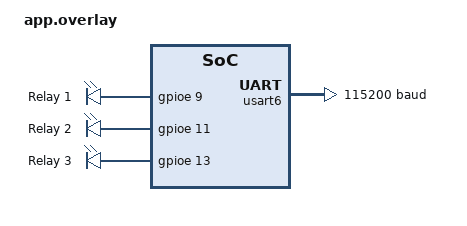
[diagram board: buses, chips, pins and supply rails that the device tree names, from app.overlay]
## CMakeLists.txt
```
# SPDX-License-Identifier: Apache-2.0

cmake_minimum_required(VERSION 3.20.0)
set(CMAKE_CXX_STANDARD 17)
find_package(Zephyr REQUIRED HINTS $ENV{ZEPHYR_BASE})
project(relay_comm)

FILE(GLOB app_sources src/*.c)

include_directories(${ZEPHYR_BASE}/include)
include_directories(${CMAKE_CURRENT_SOURCE_DIR}/include)
target_sources(app PRIVATE ${app_sources})
target_include_directories(app PRIVATE ${ZEPHYR_BASE}/include)
target_include_directories(app PRIVATE ${CMAKE_CURRENT_SOURCE_DIR}/include)
```

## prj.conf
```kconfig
# GPIO 配置
CONFIG_GPIO=y

# ARES 通信库
CONFIG_ARES=y
CONFIG_UART_INTERFACE=y
CONFIG_DUAL_PROPOSE_PROTOCOL=y

# UART 接口线程栈大小
CONFIG_ARES_UART_THREAD_STACK_SIZE=1024

# 日志配置
CONFIG_LOG=y
CONFIG_LOG_MODE_DEFERRED=y

# 电机驱动支持
CONFIG_MOTOR=y
CONFIG_MOTOR_RS=y
CONFIG_MOTOR_DM=y

# CAN总线支持
CONFIG_CAN=y
CONFIG_CAN_INIT_PRIORITY=80

# PID控制器支持
CONFIG_PID=y

# 主线程优先级
CONFIG_MAIN_THREAD_PRIORITY=7
CONFIG_SYSTEM_WORKQUEUE_STACK_SIZE=2048
```

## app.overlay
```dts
/ {
	/* 继电器输出节点 */
	leds {
		compatible = "gpio-leds";

		/* 继电器1 - PE9 */
		relay_1: relay_1 {
			gpios = <&gpioe 9 GPIO_ACTIVE_HIGH>;
			label = "Relay 1";
		};

		/* 继电器2 - PE11 */
		relay_2: relay_2 {
			gpios = <&gpioe 11 GPIO_ACTIVE_HIGH>;
			label = "Relay 2";
		};

		/* 继电器3 - PE13 */
		relay_3: relay_3 {
			gpios = <&gpioe 13 GPIO_ACTIVE_HIGH>;
			label = "Relay 3";
		};
	};

	motor {
		dm_motor: dm_motor {
			compatible = "dm,motor";
			id = <4>;
			rx_id = <0x04>;
			tx_id = <0x04>;
			v_max = "785";
			status = "okay";
			can_channel = <&can1>;
			controllers = <&mit_pid_4>;
			capabilities = "mit";
			t_max = "5";
			freq = <1000>;
		};
		rs_motor1: rs_motor1 {
			compatible = "rs,motor";
			id = <1>;
			tx_id = <0x01>;
			rx_id = <0xFD>;
			motor_type = "RS02";
			status = "okay";
			can_channel = <&can1>;
			controllers = <&mit_pid_1>;
			capabilities = "mit";
			p_max = "12.57f";
			v_max = "44.0f";
			t_max = "17.0f";
		};
		rs_motor2: rs_motor2 {
			compatible = "rs,motor";
			id = <2>;
			tx_id = <0x02>;
			rx_id = <0xFD>;
			motor_type = "RS02";
			status = "okay";
			can_channel = <&can1>;
			controllers = <&mit_pid_2>;
			capabilities = "mit";
			p_max = "12.57f";
			v_max = "44.0f";
			t_max = "17.0f";
		};
		rs_motor3: rs_motor3 {
			compatible = "rs,motor";
			id = <3>;
			tx_id = <0x03>;
			rx_id = <0xFD>;
			motor_type = "RS02";
			status = "okay";
			can_channel = <&can1>;
			controllers = <&mit_pid_3>;
			capabilities = "mit";
			p_max = "12.57f";
			v_max = "44.0f";
			t_max = "17.0f";
		};
	};

	pid {
		mit_pid_1: mit_pid_1 {
			#controller-cells = <0>;
			compatible = "pid,single";
			k_p = "100.0";
			k_i = "0.0";
			k_d = "3.0";
		};
		mit_pid_2: mit_pid_2 {
			#controller-cells = <0>;
			compatible = "pid,single";
			k_p = "150.0";
			k_i = "0.0";
			k_d = "3.0";
		};
		mit_pid_3: mit_pid_3 {
			#controller-cells = <0>;
			compatible = "pid,single";
			k_p = "120.0";
			k_i = "0.0";
			k_d = "3.0";
		};
		mit_pid_4: mit_pid_4 {
			#controller-cells = <0>;
			compatible = "pid,single";
			k_p = "100.0";
			k_i = "0.0";
			k_d = "0.5";
		};
	};
};

/* 与 2026_R2usb_arm gateway 保持相同的波特率 */
&usart6 {
	current-speed = <115200>;
};
```

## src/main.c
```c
/*
 * 机械臂区域控制板 — 串口通信 + 三路继电器控制 + 位姿序列回放
 *
 * 通过 ARES UART 双协议与上位机进行双向通信 (2 float),
 * 同时控制 PE9/PE11/PE13 三路继电器和 3 路 CAN 电机。
 *
 * 接收 (上位机 -> 本板):
 *   [0] 动作类型: 0=init_to_1, 1=init_to_2, 2=one_to_up, 3=two_to_up, 4=up_to_put, 5=关继电器
 *   [1] 保留
 *
 * 发送 (本板 -> 上位机):
 *   [0] 动作完成标志 (magic number, 抗干扰)
 *   [1] 保留
 */

#include <zephyr/device.h>
#include <zephyr/kernel.h>
#include <zephyr/drivers/gpio.h>
#include <zephyr/drivers/motor.h>
#include <zephyr/logging/log.h>
#include <math.h>
#include <stdbool.h>
#include <stdio.h>

#include <ares/interface/uart/uart.h>
#include <ares/protocol/dual/dual_protocol.h>
#include <ares/ares_comm.h>

LOG_MODULE_REGISTER(relay_comm, LOG_LEVEL_DBG);

/* ==================== 位姿数据结构 ==================== */

typedef struct {
	float joint1;
	float joint2;
	float joint3;
	float joint4;
} arm_pose_t;

#define POSE_INTERVAL_MS  100

/* ==================== 6 动作模式 ==================== */

typedef enum {
	MODE_INIT_TO_1,    /* 0: 初始→位置1 */
	MODE_INIT_TO_2,    /* 1: 初始→位置2 */
	MODE_ONE_TO_UP,    /* 2: 位置1→举起 */
	MODE_TWO_TO_UP,    /* 3: 位置2→举起 */
	MODE_UP_TO_PUT,    /* 4: 举起→放置 */
	MODE_RELAY_OFF,    /* 5: 关继电器 PE9 */
} RobotMode;

/* ==================== 协议常量 ==================== */

/*
 * 动作完成标志: 使用不易被串口干扰误判的 magic number.
 * 通过 union 将 uint32 特征值映射为 float, 避免直接用 0.0/1.0 这类易被噪声命中的值.
 */
typedef union {
	float    f;
	uint32_t u;
} flag_val_t;

/* 0x4B0CD0F1 = "DONE-ish", 0x4E0DD0F1 = "NOTD-ish" */
#define FLAG_DONE     ((flag_val_t){ .u = 0x4B0CD0F1 }).f
#define FLAG_PENDING  ((flag_val_t){ .u = 0x4E0DD0F1 }).f

/* 继电器电平标志 */
#define RELAY_HIGH 1.0f
#define RELAY_LOW  0.0f

/* ==================== 电机设备 ==================== */

#define MOTOR1_NODE DT_NODELABEL(rs_motor1)
#define MOTOR2_NODE DT_NODELABEL(rs_motor2)
#define MOTOR3_NODE DT_NODELABEL(rs_motor3)

static const struct device *motor1 = DEVICE_DT_GET(MOTOR1_NODE);
static const struct device *motor2 = DEVICE_DT_GET(MOTOR2_NODE);
static const struct device *motor3 = DEVICE_DT_GET(MOTOR3_NODE);
static const struct device *dm_motor = DEVICE_DT_GET(DT_PATH(motor, dm_motor));

/* ==================== 继电器 ==================== */

/* PE9, PE11, PE13 */
static const struct gpio_dt_spec relay1 = GPIO_DT_SPEC_GET(DT_NODELABEL(relay_1), gpios);
static const struct gpio_dt_spec relay2 = GPIO_DT_SPEC_GET(DT_NODELABEL(relay_2), gpios);
static const struct gpio_dt_spec relay3 = GPIO_DT_SPEC_GET(DT_NODELABEL(relay_3), gpios);

static const struct gpio_dt_spec *relay_gpios[] = {&relay1, &relay2, &relay3};

static int relay_init(void)
{
	for (int i = 0; i < 3; i++) {
		if (!gpio_is_ready_dt(relay_gpios[i])) {
			LOG_ERR("继电器 %d GPIO 未就绪", i + 1);
			return -ENODEV;
		}
		gpio_pin_configure_dt(relay_gpios[i], GPIO_OUTPUT_INACTIVE);
		gpio_pin_set_dt(relay_gpios[i], 0);
	}
	LOG_INF("三路继电器初始化完成 (PE9/PE11/PE13)");
	return 0;
}

static void relay_set(int index, int on)
{
	if (index < 0 || index > 2) {
		return;
	}
	gpio_pin_set_dt(relay_gpios[index], on ? 1 : 0);
}

static int relay_get(int index)
{
	if (index < 0 || index > 2) {
		return 0;
	}
	return gpio_pin_get_dt(relay_gpios[index]);
}

/* ==================== 电机初始化 (按 2026_arm_death 方式) ==================== */

static int motor_init(void)
{
	if (!device_is_ready(motor1) || !device_is_ready(motor2) ||
	    !device_is_ready(motor3) || !device_is_ready(dm_motor)) {
		LOG_ERR("电机设备未就绪");
		return -ENODEV;
	}

	motor_control(motor1, ENABLE_MOTOR);
	k_msleep(100);
	motor_control(motor1, ENABLE_MOTOR);
	k_msleep(100);
	motor_set_mode(motor1, MIT);
	k_msleep(100);
	motor_control(motor1, SET_ZERO);
	k_msleep(100);

	motor_control(motor2, ENABLE_MOTOR);
	k_msleep(100);
	motor_control(motor2, ENABLE_MOTOR);
	k_msleep(100);
	motor_set_mode(motor2, MIT);
	k_msleep(100);
	motor_control(motor2, SET_ZERO);
	k_msleep(100);

	motor_control(motor3, ENABLE_MOTOR);
	k_msleep(100);
	motor_control(motor3, ENABLE_MOTOR);
	k_msleep(100);
	motor_set_mode(motor3, MIT);
	k_msleep(100);
	motor_control(motor3, SET_ZERO);
	k_msleep(100);

	motor_control(dm_motor, ENABLE_MOTOR);
	k_msleep(100);
	motor_set_mode(dm_motor, MIT);
	k_msleep(100);

	motor_set_mit(motor1, 0.0f, 0.0f, 0.0f);
	k_msleep(1000);

	LOG_INF("电机初始化完成 (MIT 模式, 已归零)");
	return 0;
}

/* ==================== 位姿序列 (来自 2026_arm_death) ==================== */

arm_pose_t init_to_1[] = {
	{0.0f,   0.00f,   0.00f,   0.00f},
	{0.0f,   2.27f,  -0.54f,   0.94f},
	{0.0f,   2.27f,  -0.56f,   1.88f},
	{0.0f,   2.38f,  -0.58f,   2.82f},
	{0.0f,   3.77f,  -1.88f,   3.76f},
	{0.0f,   6.34f,  -4.43f,   4.69f},
	{0.0f,   8.78f,  -6.87f,   5.63f},
	{0.0f,  12.76f, -10.65f,   6.57f},
	{0.0f,  16.23f, -13.97f,   7.51f},
	{0.0f,  18.58f, -15.97f,   8.45f},
	{0.0f,  22.78f, -20.12f,   9.39f},
	{0.0f,  25.86f, -23.42f,  10.33f},
	{0.0f,  26.01f, -24.91f,  11.27f},
	{0.0f,  25.99f, -27.95f,  12.21f},
	{0.0f,  24.32f, -30.58f,  13.15f},
	{0.0f,  21.37f, -30.89f,  14.08f},
	{0.0f,  18.12f, -31.11f,  15.02f},
	{0.0f,  14.80f, -31.33f,  15.96f},
	{0.0f,  11.64f, -33.27f,  16.90f},
	{0.0f,   7.88f, -34.34f,  17.84f},
	{0.0f,   2.58f, -35.18f,  18.78f},
	{0.0f,  -3.48f, -37.05f,  19.72f},
	{0.0f, -10.01f, -38.06f,  20.66f},
	{0.0f, -16.87f, -39.66f,  21.60f},
	{0.0f, -22.98f, -40.45f,  22.54f},
	{0.0f, -26.72f, -40.61f,  23.47f},
	{0.0f, -30.94f, -41.46f,  24.41f},
	{0.0f, -37.31f, -43.05f,  25.35f},
	{0.0f, -43.57f, -44.17f,  26.29f},
	{0.0f, -47.24f, -44.15f,  27.23f},
	{0.0f, -50.17f, -44.43f,  28.17f},
	{0.0f, -51.75f, -44.15f,  29.11f},
	{0.0f, -52.72f, -44.27f,  30.05f},
	{0.0f, -52.46f, -44.91f,  31.99f},
	{0.0f, -52.43f, -45.94f,  33.93f},
	{0.0f, -52.10f, -46.94f,  35.87f},
	{0.0f, -52.30f, -48.87f,  37.80f},
};

arm_pose_t init_to_2[] = {
	{0.0f,   0.30f,  -0.05f,  -2.50f},
	{0.0f,   1.46f,  -0.19f,  -2.51f},
	{0.0f,   3.03f,  -1.19f,  -2.81f},
	{0.0f,   5.23f,  -2.22f,  -3.11f},
	{0.0f,   8.16f,  -3.53f,  -3.41f},
	{0.0f,  10.50f,  -4.53f,  -3.41f},
	{0.0f,  12.69f,  -5.80f,  -3.40f},
	{0.0f,  14.33f,  -6.72f,  -3.41f},
	{0.0f,  15.87f,  -10.02f, -3.41f},
	{0.0f,  15.92f,  -11.28f, -5.03f},
	{0.0f,  16.06f,  -12.40f, -5.03f},
	{0.0f,  15.98f,  -13.44f, -6.98f},
	{0.0f,  14.11f,  -14.44f, -9.05f},
	{0.0f,  11.44f,  -15.17f, -9.41f},
	{0.0f,   7.40f,  -15.50f, -10.29f},
	{0.0f,   2.79f,  -16.59f, -13.62f},
	{0.0f,  -2.92f,  -17.14f, -15.69f},
	{0.0f,  -6.24f,  -17.74f, -15.69f},
	{0.0f,  -9.63f,  -18.47f, -15.69f},
	{0.0f, -12.96f,  -19.38f, -17.22f},
	{0.0f, -16.32f,  -20.07f, -19.10f},
	{0.0f, -19.67f,  -21.46f, -21.17f},
	{0.0f, -23.48f,  -22.23f, -24.55f},
	{0.0f, -27.90f,  -24.22f, -26.54f},
	{0.0f, -32.19f,  -25.30f, -28.34f},
	{0.0f, -36.51f,  -27.06f, -31.38f},
	{0.0f, -40.49f,  -28.61f, -33.06f},
	{0.0f, -44.34f,  -30.04f, -33.61f},
	{0.0f, -47.77f,  -31.30f, -34.76f},
	{0.0f, -51.14f,  -32.80f, -36.35f},
	{0.0f, -54.01f,  -34.37f, -38.14f},
	{0.0f, -56.98f,  -36.12f, -39.74f},
	{0.0f, -59.89f,  -38.06f, -40.84f},
	{0.0f, -62.59f,  -39.88f, -41.87f},
	{0.0f, -65.25f,  -41.80f, -42.74f},
	{0.0f, -67.16f,  -44.06f, -43.08f},
	{0.0f, -68.88f,  -46.02f, -44.22f},
	{0.0f, -70.38f,  -48.08f, -44.22f},
	{0.0f, -71.76f,  -50.06f, -45.28f},
	{0.0f, -73.20f,  -52.58f, -46.08f},
	{0.0f, -74.54f,  -54.96f, -46.40f},
	{0.0f, -75.85f,  -57.76f, -46.88f},
	{0.0f, -76.69f,  -59.75f, -47.93f},
	{0.0f, -76.72f,  -61.47f, -47.71f},
	{0.0f, -76.59f,  -62.68f, -47.79f},
	{0.0f, -76.59f,  -63.49f, -48.11f},
	{0.0f, -76.86f,  -64.30f, -49.98f},
	{0.0f, -76.88f,  -64.93f, -51.14f},
	{0.0f, -76.46f,  -65.66f, -54.19f},
};

arm_pose_t one_to_up[] = {
	{0.0f, -58.30f, -42.87f,  37.80f},
	{0.0f, -57.55f, -44.15f,  34.59f},
	{0.0f, -53.20f, -46.15f,  30.91f},
	{0.0f, -49.75f, -48.15f,  27.23f},
	{0.0f, -45.49f, -48.12f,  25.54f},
	{0.0f, -41.05f, -47.66f,  24.86f},
	{0.0f, -37.33f, -47.66f,  24.17f},
	{0.0f, -33.77f, -47.33f,  23.49f},
	{0.0f, -29.49f, -46.96f,  22.81f},
	{0.0f, -23.70f, -45.16f,  22.12f},
	{0.0f, -19.46f, -44.80f,  21.44f},
	{0.0f, -15.37f, -44.80f,  20.75f},
	{0.0f, -11.04f, -44.80f,  20.07f},
	{0.0f,  -7.15f, -44.80f,  19.39f},
	{0.0f,  -3.90f, -44.91f,  18.70f},
	{0.0f,   0.56f, -46.96f,  18.02f},
	{0.0f,   4.98f, -51.97f,  17.33f},
	{0.0f,   8.63f, -55.18f,  16.65f},
	{0.0f,  11.26f, -58.30f,  15.97f},
	{0.0f,  14.50f, -61.55f,  15.28f},
	{0.0f,  18.39f, -63.53f,  14.60f},
	{0.0f,  20.87f, -65.29f,  13.91f},
	{0.0f,  22.34f, -65.91f,  13.23f},
	{0.0f,  25.13f, -66.37f,  12.55f},
	{0.0f,  26.52f, -66.34f,  11.86f},
	{0.0f,  27.05f, -66.50f,  11.18f},
	{0.0f,  27.40f, -66.48f,  10.49f},
	{0.0f,  27.57f, -66.45f,   9.81f},
	{0.0f,  27.68f, -66.45f,   9.13f},
	{0.0f,  27.77f, -66.45f,   8.44f},
	{0.0f,  27.84f, -66.45f,   7.76f},
	{0.0f,  28.14f, -66.45f,   7.07f},
	{0.0f,  28.45f, -66.48f,   6.39f},
	{0.0f,  29.05f, -66.48f,   5.71f},
	{0.0f,  29.24f, -66.45f,   5.02f},
	{0.0f,  29.31f, -66.52f,   4.34f},
	{0.0f,  29.62f, -67.97f,   3.65f},
	{0.0f,  29.90f, -68.08f,   2.97f},
	{0.0f,  29.79f, -68.06f,   2.29f},
	{0.0f,  29.81f, -68.06f,   1.60f},
	{0.0f,  29.71f, -68.06f,   0.92f},
	{0.0f,  29.31f, -68.04f,   0.23f},
	{0.0f,  29.22f, -68.06f,  -0.45f},
	{0.0f,  29.20f, -68.06f,  -1.14f},
	{0.0f,  29.22f, -70.06f,  -1.82f},
	{0.0f,  28.30f, -73.14f,  -2.48f},
};

arm_pose_t two_to_up[] = {
	{0.0f, -76.46f, -65.66f, -54.19f},
	{0.0f, -76.46f, -63.66f, -53.18f},
	{0.0f, -76.46f, -62.40f, -52.16f},
	{0.0f, -76.08f, -60.36f, -51.15f},
	{0.0f, -72.15f, -59.38f, -50.13f},
	{0.0f, -66.92f, -59.27f, -49.12f},
	{0.0f, -62.34f, -59.25f, -48.11f},
	{0.0f, -57.22f, -59.25f, -47.09f},
	{0.0f, -51.86f, -59.27f, -46.08f},
	{0.0f, -46.10f, -59.27f, -45.06f},
	{0.0f, -40.01f, -59.27f, -44.05f},
	{0.0f, -34.34f, -59.27f, -43.04f},
	{0.0f, -27.81f, -59.09f, -42.02f},
	{0.0f, -24.06f, -59.33f, -41.01f},
	{0.0f, -18.94f, -59.71f, -39.99f},
	{0.0f, -10.47f, -59.88f, -38.98f},
	{0.0f,  -4.52f, -59.88f, -37.97f},
	{0.0f,  -1.40f, -59.90f, -36.95f},
	{0.0f,   3.07f, -60.01f, -35.94f},
	{0.0f,  10.98f, -63.09f, -34.92f},
	{0.0f,  15.86f, -65.58f, -33.91f},
	{0.0f,  17.66f, -67.96f, -32.89f},
	{0.0f,  20.54f, -69.25f, -31.88f},
	{0.0f,  24.39f, -71.22f, -30.87f},
	{0.0f,  25.35f, -73.22f, -29.85f},
	{0.0f,  25.46f, -73.22f, -28.84f},
	{0.0f,  26.12f, -73.25f, -27.82f},
	{0.0f,  26.83f, -73.22f, -26.81f},
	{0.0f,  27.02f, -73.18f, -25.80f},
	{0.0f,  27.00f, -73.14f, -24.78f},
	{0.0f,  27.05f, -73.18f, -23.77f},
	{0.0f,  27.05f, -73.14f, -22.75f},
	{0.0f,  27.20f, -73.16f, -21.74f},
	{0.0f,  27.42f, -73.16f, -20.72f},
	{0.0f,  27.46f, -73.18f, -19.71f},
	{0.0f,  27.44f, -73.14f, -18.70f},
	{0.0f,  27.55f, -73.16f, -17.68f},
	{0.0f,  27.55f, -73.16f, -16.67f},
	{0.0f,  27.68f, -73.18f, -15.65f},
	{0.0f,  27.81f, -73.18f, -14.64f},
	{0.0f,  28.14f, -73.20f, -13.63f},
	{0.0f,  28.32f, -73.18f, -12.61f},
	{0.0f,  28.30f, -73.16f, -11.60f},
	{0.0f,  28.30f, -73.18f, -10.58f},
	{0.0f,  28.32f, -73.18f,  -9.57f},
	{0.0f,  28.32f, -73.18f,  -8.55f},
	{0.0f,  28.30f, -73.16f,  -7.54f},
	{0.0f,  28.30f, -73.18f,  -6.53f},
	{0.0f,  28.30f, -73.16f,  -5.51f},
	{0.0f,  28.28f, -73.16f,  -4.50f},
	{0.0f,  28.30f, -73.14f,  -3.48f},
	{0.0f,  28.30f, -73.14f,  -2.48f},
};

arm_pose_t up_to_put[] = {
	{0.0f,  28.30f, -73.14f,  -2.48f},
	{0.0f,  26.31f, -73.97f,  -2.50f},
	{0.0f,  24.32f, -74.80f,  -2.52f},
	{0.0f,  22.33f, -75.62f,  -2.55f},
	{0.0f,  20.34f, -76.45f,  -2.57f},
	{0.0f,  18.35f, -77.28f,  -2.59f},
	{0.0f,  16.36f, -78.11f,  -2.61f},
	{0.0f,  14.37f, -78.93f,  -2.64f},
	{0.0f,  12.38f, -79.76f,  -2.66f},
	{0.0f,  10.39f, -80.59f,  -2.68f},
	{0.0f,   8.40f, -81.42f,  -2.70f},
	{0.0f,   6.41f, -82.24f,  -2.73f},
	{0.0f,   4.42f, -83.07f,  -2.75f},
	{0.0f,   2.43f, -83.90f,  -2.77f},
	{0.0f,   0.44f, -84.73f,  -2.79f},
	{0.0f,  -1.55f, -85.55f,  -2.82f},
	{0.0f,  -3.54f, -86.38f,  -2.84f},
	{0.0f,  -5.53f, -87.21f,  -2.86f},
	{0.0f,  -7.52f, -88.04f,  -2.88f},
	{0.0f,  -9.51f, -88.86f,  -2.91f},
	{0.0f, -11.50f, -89.69f,  -2.93f},
	{0.0f, -13.49f, -90.52f,  -2.95f},
	{0.0f, -15.48f, -91.35f,  -2.97f},
	{0.0f, -17.47f, -92.18f,  -3.00f},
	{0.0f, -19.46f, -93.01f,  -3.01f},
};

/* ==================== 位姿执行 ==================== */

static void execute_pose_sequence(const arm_pose_t *poses, size_t count)
{
	for (size_t i = 0; i < count; i++) {
		motor_set_mit(motor2, 0.0f, poses[i].joint2, 0.0f);
		motor_set_mit(motor3, 0.0f, poses[i].joint3, 0.0f);
		motor_set_mit(dm_motor, 0.0f, poses[i].joint4, 0.0f);
		k_msleep(POSE_INTERVAL_MS);
		/* 每 10 步 (~1s) 打印进度，首尾必打，避免刷屏 */
		if (i == 0 || i == count - 1 || i % 10 == 0) {
			LOG_INF("  位姿进度 %u/%u: J2=%.1f J3=%.1f J4=%.1f",
				(unsigned)i + 1, (unsigned)count,
				(double)poses[i].joint2, (double)poses[i].joint3,
				(double)poses[i].joint4);
		}
	}
}

/* ==================== 动作完成脉冲计数器 ==================== */

#define DONE_PULSE_FRAMES 10
static uint8_t done_pulse;

/* ==================== 轨迹执行线程同步 ==================== */

static RobotMode pending_mode;
static volatile bool trajectory_running;
K_SEM_DEFINE(trajectory_sem, 0, 1);

static void trajectory_thread_fn(void *arg1, void *arg2, void *arg3)
{
	while (1) {
		k_sem_take(&trajectory_sem, K_FOREVER);
		trajectory_running = true;

		switch (pending_mode) {
		case MODE_INIT_TO_1:
			LOG_INF(">>> 开始执行 [init_to_1: 初始→位置1] (%u步)",
				ARRAY_SIZE(init_to_1));
			relay_set(0, 1);
			execute_pose_sequence(init_to_1, ARRAY_SIZE(init_to_1));
			break;
		case MODE_INIT_TO_2:
			LOG_INF(">>> 开始执行 [init_to_2: 初始→位置2] (%u步)", ARRAY_SIZE(init_to_2));
			relay_set(0, 1);
			execute_pose_sequence(init_to_2, ARRAY_SIZE(init_to_2));
			break;
		case MODE_ONE_TO_UP:
			LOG_INF(">>> 开始执行 [one_to_up: 位置1→举起] (%u步)", ARRAY_SIZE(one_to_up));
			execute_pose_sequence(one_to_up, ARRAY_SIZE(one_to_up));
			break;
		case MODE_TWO_TO_UP:
			LOG_INF(">>> 开始执行 [two_to_up: 位置2→举起] (%u步)", ARRAY_SIZE(two_to_up));
			execute_pose_sequence(two_to_up, ARRAY_SIZE(two_to_up));
			break;
		case MODE_UP_TO_PUT:
			LOG_INF(">>> 开始执行 [up_to_put: 举起→放置] (%u步)", ARRAY_SIZE(up_to_put));
			execute_pose_sequence(up_to_put, ARRAY_SIZE(up_to_put));
			break;
		case MODE_RELAY_OFF:
			relay_set(0, 0);
			LOG_INF(">>> 关继电器 PE9");
			break;
		default:
			break;
		}

		LOG_INF("动作执行完毕。");
		done_pulse = DONE_PULSE_FRAMES;
		trajectory_running = false;
	}
}

K_THREAD_DEFINE(trajectory_tid, 4096, trajectory_thread_fn, NULL, NULL, NULL,
		2, 0, 0);

/* ==================== 串口通信 ==================== */

/* UART 设备 */
#define UART_NODE DT_NODELABEL(usart6)
static const struct device *uart_dev = DEVICE_DT_GET(UART_NODE);

ARES_UART_INTERFACE_DEFINE(uart_interface);
DUAL_PROPOSE_PROTOCOL_DEFINE(uart_protocol);

/* 双向数据通道 */
#define SYNC_ID_TX 0x0100 /* 本板 -> 上位机 */
#define SYNC_ID_RX 0x0200 /* 上位机 -> 本板 */

/* 2 个 float = 8 字节 */
#define DATA_LEN 8
static float tx_data[2]; /* [完成标志, 保留] */
static float rx_data[2]; /* [动作类型, 子模式] */

static sync_table_t *tx_pack;
static sync_table_t *rx_pack;

/* 统计 */
static uint32_t rx_cnt;
static uint32_t tx_cnt;
static uint32_t tx_fail;

/* 新数据到达标志 */
static bool rx_new_data;

static void rx_cb(int status)
{
	if (status == SYNC_PACK_STATUS_DONE) {
		rx_cnt++;
		rx_new_data = true;
		/* 确认链路存活: 前 5 包 + 之后每 500 包打印一次 */
		if (rx_cnt <= 5 || rx_cnt % 500 == 0) {
			LOG_INF("[RX] rx=%u raw=[%02x %02x %02x %02x %02x %02x %02x %02x]",
				rx_cnt,
				((uint8_t *)rx_data)[0], ((uint8_t *)rx_data)[1],
				((uint8_t *)rx_data)[2], ((uint8_t *)rx_data)[3],
				((uint8_t *)rx_data)[4], ((uint8_t *)rx_data)[5],
				((uint8_t *)rx_data)[6], ((uint8_t *)rx_data)[7]);
		}
	} else if (status != 0) {
		/* 非 DONE 非 0 说明协议层有异常，但不刷屏 */
		static uint32_t rx_err_cnt;
		static uint32_t rx_err_last_log;
		rx_err_cnt++;
		if (rx_err_last_log == 0 ||
		    rx_err_cnt - rx_err_last_log >= 500) {
			LOG_WRN("[RX_ERR] status=%d err_cnt=%u", status, rx_err_cnt);
			rx_err_last_log = rx_err_cnt;
		}
	}
}

static int uart_comm_init(void)
{
	if (!device_is_ready(uart_dev)) {
		LOG_ERR("UART 设备未就绪");
		return -ENODEV;
	}

	ares_uart_init_dev(&uart_interface, uart_dev);
	int ret = ares_bind_interface(&uart_interface, &uart_protocol);
	if (ret < 0) {
		LOG_ERR("UART 绑定失败: %d", ret);
		return ret;
	}

	tx_pack = dual_sync_add(&uart_protocol, SYNC_ID_TX, (uint8_t *)tx_data,
				DATA_LEN, NULL);
	rx_pack = dual_sync_add(&uart_protocol, SYNC_ID_RX, (uint8_t *)rx_data,
				DATA_LEN, rx_cb);

	LOG_INF("串口通信初始化完成 (TX:0x%04X RX:0x%04X len=%d)",
		SYNC_ID_TX, SYNC_ID_RX, DATA_LEN);
	return 0;
}

static int uart_tx_flush(void)
{
	return dual_sync_flush(&uart_protocol, tx_pack);
}

/* ==================== 指令处理 ==================== */

static void process_rx_command(void)
{
	int cmd = (int)rx_data[0];
	static const char *mode_names[] = {
		[MODE_INIT_TO_1] = "init_to_1",
		[MODE_INIT_TO_2] = "init_to_2",
		[MODE_ONE_TO_UP] = "one_to_up",
		[MODE_TWO_TO_UP] = "two_to_up",
		[MODE_UP_TO_PUT] = "up_to_put",
		[MODE_RELAY_OFF] = "relay_off",
	};

	switch (cmd) {
	case MODE_INIT_TO_1:
	case MODE_INIT_TO_2:
	case MODE_ONE_TO_UP:
	case MODE_TWO_TO_UP:
	case MODE_UP_TO_PUT:
		LOG_INF("[CMD] rx=%u 动作=%s(%d) sub=%.0f raw=[%02x %02x %02x %02x %02x %02x %02x %02x]",
			rx_cnt, mode_names[cmd], cmd, (double)rx_data[1],
			((uint8_t *)rx_data)[0], ((uint8_t *)rx_data)[1],
			((uint8_t *)rx_data)[2], ((uint8_t *)rx_data)[3],
			((uint8_t *)rx_data)[4], ((uint8_t *)rx_data)[5],
			((uint8_t *)rx_data)[6], ((uint8_t *)rx_data)[7]);
		pending_mode = (RobotMode)cmd;
		trajectory_running = true;
		k_sem_give(&trajectory_sem);
		break;

	case MODE_RELAY_OFF:
		LOG_INF("[CMD] rx=%u 动作=%s(%d) raw=[%02x %02x %02x %02x %02x %02x %02x %02x]",
			rx_cnt, mode_names[cmd], cmd,
			((uint8_t *)rx_data)[0], ((uint8_t *)rx_data)[1],
			((uint8_t *)rx_data)[2], ((uint8_t *)rx_data)[3],
			((uint8_t *)rx_data)[4], ((uint8_t *)rx_data)[5],
			((uint8_t *)rx_data)[6], ((uint8_t *)rx_data)[7]);
		pending_mode = MODE_RELAY_OFF;
		k_sem_give(&trajectory_sem);
		break;

	default:
		LOG_WRN("[CMD] rx=%u 未知动作=%d sub=%.0f raw=[%02x %02x %02x %02x %02x %02x %02x %02x]",
			rx_cnt, cmd, (double)rx_data[1],
			((uint8_t *)rx_data)[0], ((uint8_t *)rx_data)[1],
			((uint8_t *)rx_data)[2], ((uint8_t *)rx_data)[3],
			((uint8_t *)rx_data)[4], ((uint8_t *)rx_data)[5],
			((uint8_t *)rx_data)[6], ((uint8_t *)rx_data)[7]);
		break;
	}
}

/* ==================== 主函数 ==================== */

int main(void)
{
	LOG_INF("===== 机械臂区域控制板启动 =====");
	k_msleep(1000);
	if (relay_init() < 0) {
		return -1;
	}

	if (uart_comm_init() < 0) {
		return -1;
	}

	if (motor_init() < 0) {
		LOG_WRN("电机初始化失败, 继续运行 (仅继电器功能可用)");
	}

	while (1) {
		/* 仅在新数据到达、非脉冲期间、无轨迹执行时处理指令 */
		if (rx_new_data) {
			if (done_pulse == 0 && !trajectory_running) {
				rx_new_data = false;
				process_rx_command();
			} else {
				/* 丢包: 轨迹执行中或完成脉冲期间不处理新指令，但不刷屏 */
				static uint32_t drop_cnt;
				drop_cnt++;
				rx_new_data = false;
				if (drop_cnt <= 5 || drop_cnt % 500 == 0) {
					LOG_WRN("[DROP] rx=%u rsn=%s drop=%u",
						rx_cnt,
						done_pulse > 0 ? "pulse" : "busy",
						drop_cnt);
				}
			}
		}

		tx_data[0] = (done_pulse > 0) ? FLAG_DONE : FLAG_PENDING;
		tx_data[1] = 0.0f; /* reserved */

		if (done_pulse > 0) {
			done_pulse--;
		}

		int flush_ret = uart_tx_flush();
		if (flush_ret != 0) {
			tx_fail++;
			if (tx_fail <= 5 || tx_fail % 500 == 0) {
				LOG_ERR("[TX_FAIL] ret=%d fail=%u", flush_ret, tx_fail);
			}
		}
		tx_cnt++;

		/* 每 5 秒 (500 帧) 输出健康摘要 + 电机角度 + 继电器状态 */
		if (tx_cnt % 500 == 0) {
			LOG_INF("[HEART] TX=%u RX=%u fail=%u | M2=%.1f M3=%.1f M4=%.1f | R1=%d R2=%d R3=%d",
				tx_cnt, rx_cnt, tx_fail,
				(double)motor_get_angle(motor2),
				(double)motor_get_angle(motor3),
				(double)motor_get_angle(dm_motor),
				relay_get(0), relay_get(1), relay_get(2));
		}

		k_msleep(10); /* 100Hz */
	}

	return 0;
}
```
